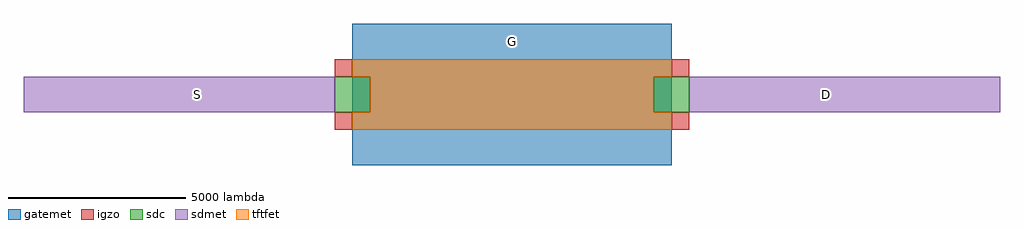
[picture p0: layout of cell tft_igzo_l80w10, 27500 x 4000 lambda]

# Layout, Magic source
magic
tech igzo_mmm_lab
<< igzo >>
rect -5000 500 -4500 1000
rect 4500 500 5000 1000
rect -5000 -1000 -4500 -500
rect 4500 -1000 5000 -500
<< tftfet >>
rect -4500 500 4500 1000
rect -4000 -500 4000 500
rect -4500 -1000 4500 -500
<< sdc >>
rect -5000 -500 -4000 500
rect 4000 -500 5000 500
<< sdmet >>
rect -13750 -500 -5000 500
rect 5000 -500 13750 500
<< gatemet >>
rect -4500 -2000 4500 2000
<< labels >>
rlabel sdmet s -8925 -50 -8825 50 4 S
port 3 nsew
rlabel sdmet s 8825 -50 8925 50 4 D
port 5 nsew
rlabel gatemet s -50 1450 50 1550 4 G
port 7 nsew
<< end >>
